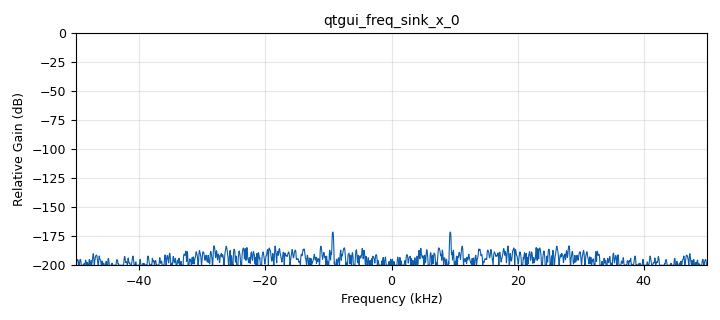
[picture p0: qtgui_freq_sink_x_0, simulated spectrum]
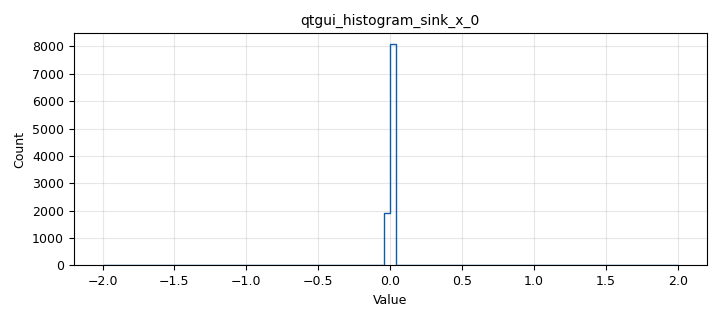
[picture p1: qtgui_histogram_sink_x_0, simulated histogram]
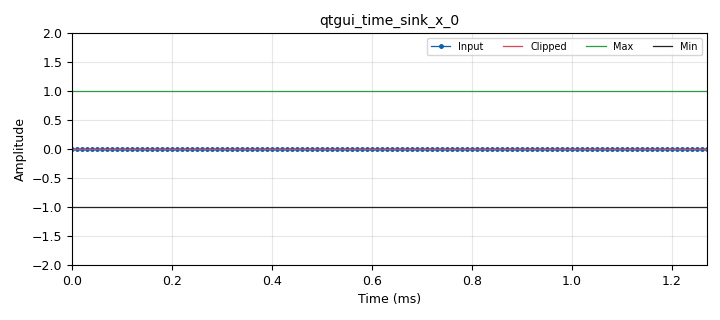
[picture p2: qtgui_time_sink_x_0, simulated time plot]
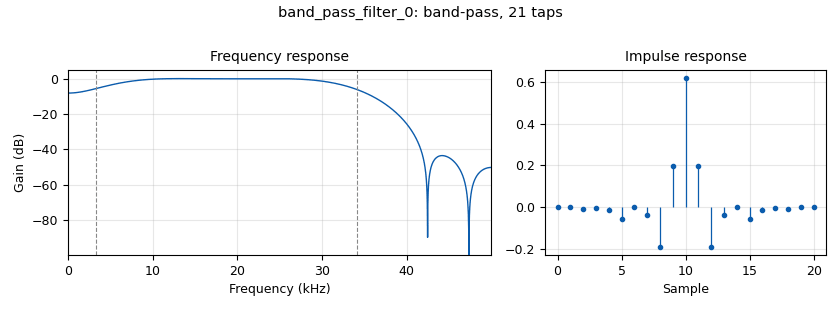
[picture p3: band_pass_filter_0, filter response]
<?xml version='1.0' encoding='utf-8'?>
<?grc format='1' created='3.7.10'?>
<flow_graph>
<block>
<key>options</key>
<param><key>id</key><value>top_block</value></param>
<param><key>author</key><value>Alexandros-Apostolos A. Boulogeorgos</value></param>
<param><key>generate_options</key><value>qt_gui</value></param>
<param><key>title</key><value>Clipping effect demonstration</value></param>
</block>
<block>
<key>variable_qtgui_range</key>
<param><key>id</key><value>bw</value></param>
<param><key>value</key><value>samp_rate/2</value></param>
<param><key>gui_hint</key><value>4,1,1,1</value></param>
<param><key>label</key><value>BW</value></param>
<param><key>orient</key><value>Qt.Horizontal</value></param>
<param><key>start</key><value>samp_rate/100.0</value></param>
<param><key>step</key><value>100</value></param>
<param><key>stop</key><value>samp_rate/2</value></param>
</block>
<block>
<key>variable_qtgui_range</key>
<param><key>id</key><value>center</value></param>
<param><key>value</key><value>samp_rate/11.0</value></param>
<param><key>gui_hint</key><value>3,1,1,1</value></param>
<param><key>label</key><value>Center Freq</value></param>
<param><key>orient</key><value>Qt.Horizontal</value></param>
<param><key>start</key><value>0</value></param>
<param><key>step</key><value>100</value></param>
<param><key>stop</key><value>samp_rate/2</value></param>
</block>
<block>
<key>variable_qtgui_chooser</key>
<param><key>id</key><value>clipping</value></param>
<param><key>value</key><value>1</value></param>
<param><key>gui_hint</key><value>4,0,1,1</value></param>
<param><key>label</key><value>Clipping</value></param>
<param><key>labels</key><value>[]</value></param>
<param><key>num_opts</key><value>0</value></param>
<param><key>options</key><value>[1, 2, 3, 4, 5]</value></param>
<param><key>type</key><value>int</value></param>
</block>
<block>
<key>variable_qtgui_range</key>
<param><key>id</key><value>noise_amp</value></param>
<param><key>value</key><value>-150</value></param>
<param><key>gui_hint</key><value>2,1,1,1</value></param>
<param><key>label</key><value>Noise Power</value></param>
<param><key>orient</key><value>Qt.Horizontal</value></param>
<param><key>start</key><value>-150</value></param>
<param><key>step</key><value>5</value></param>
<param><key>stop</key><value>0</value></param>
</block>
<block>
<key>variable</key>
<param><key>id</key><value>samp_rate</value></param>
<param><key>value</key><value>100000</value></param>
</block>
<block>
<key>variable_qtgui_range</key>
<param><key>id</key><value>sigfreq</value></param>
<param><key>value</key><value>samp_rate*1.0247385/11.0</value></param>
<param><key>gui_hint</key><value>3,0,1,1</value></param>
<param><key>label</key><value>Signal Freq</value></param>
<param><key>orient</key><value>Qt.Horizontal</value></param>
<param><key>start</key><value>0</value></param>
<param><key>step</key><value>1000</value></param>
<param><key>stop</key><value>samp_rate/2</value></param>
</block>
<block>
<key>variable_qtgui_range</key>
<param><key>id</key><value>signal_amp</value></param>
<param><key>value</key><value>-150</value></param>
<param><key>gui_hint</key><value>2,0,1,1</value></param>
<param><key>label</key><value>Singal Power</value></param>
<param><key>orient</key><value>Qt.Horizontal</value></param>
<param><key>start</key><value>-150</value></param>
<param><key>step</key><value>5</value></param>
<param><key>stop</key><value>10</value></param>
</block>
<block>
<key>analog_noise_source_x</key>
<param><key>id</key><value>analog_noise_source_x_0</value></param>
<param><key>amp</key><value>pow(10.0,noise_amp/20.0)</value></param>
<param><key>noise_type</key><value>analog.GR_GAUSSIAN</value></param>
<param><key>type</key><value>float</value></param>
<param><key>seed</key><value>0</value></param>
</block>
<block>
<key>analog_rail_ff</key>
<param><key>id</key><value>analog_rail_ff_0</value></param>
<param><key>hi</key><value>clipping</value></param>
<param><key>lo</key><value>-clipping</value></param>
</block>
<block>
<key>analog_sig_source_x</key>
<param><key>id</key><value>analog_sig_source_x_0</value></param>
<param><key>amp</key><value>pow(10.0,signal_amp/20.0)</value></param>
<param><key>freq</key><value>sigfreq</value></param>
<param><key>offset</key><value>0</value></param>
<param><key>type</key><value>float</value></param>
<param><key>samp_rate</key><value>samp_rate</value></param>
<param><key>waveform</key><value>analog.GR_COS_WAVE</value></param>
</block>
<block>
<key>analog_sig_source_x</key>
<param><key>id</key><value>analog_sig_source_x_1</value></param>
<param><key>amp</key><value>clipping</value></param>
<param><key>freq</key><value>0</value></param>
<param><key>offset</key><value>0</value></param>
<param><key>type</key><value>float</value></param>
<param><key>samp_rate</key><value>samp_rate</value></param>
<param><key>waveform</key><value>analog.GR_CONST_WAVE</value></param>
</block>
<block>
<key>analog_sig_source_x</key>
<param><key>id</key><value>analog_sig_source_x_1_0</value></param>
<param><key>amp</key><value>-clipping</value></param>
<param><key>freq</key><value>0</value></param>
<param><key>offset</key><value>0</value></param>
<param><key>type</key><value>float</value></param>
<param><key>samp_rate</key><value>samp_rate</value></param>
<param><key>waveform</key><value>analog.GR_CONST_WAVE</value></param>
</block>
<block>
<key>band_pass_filter</key>
<param><key>id</key><value>band_pass_filter_0</value></param>
<param><key>decim</key><value>1</value></param>
<param><key>type</key><value>fir_filter_fff</value></param>
<param><key>gain</key><value>1</value></param>
<param><key>high_cutoff_freq</key><value>min(samp_rate/2.0-bw/15.0,center+bw/2.0)</value></param>
<param><key>low_cutoff_freq</key><value>max(bw/15.0,center-bw/2.0)</value></param>
<param><key>samp_rate</key><value>samp_rate</value></param>
<param><key>width</key><value>bw/5.0</value></param>
<param><key>win</key><value>firdes.WIN_HANN</value></param>
</block>
<block>
<key>blocks_add_xx</key>
<param><key>id</key><value>blocks_add_xx_0</value></param>
<param><key>type</key><value>float</value></param>
</block>
<block>
<key>blocks_throttle</key>
<param><key>id</key><value>blocks_throttle_0</value></param>
<param><key>samples_per_second</key><value>samp_rate</value></param>
<param><key>type</key><value>float</value></param>
</block>
<block>
<key>import</key>
<param><key>id</key><value>import_0</value></param>
<param><key>import</key><value>import math</value></param>
</block>
<block>
<key>qtgui_freq_sink_x</key>
<param><key>id</key><value>qtgui_freq_sink_x_0</value></param>
<param><key>bw</key><value>samp_rate</value></param>
<param><key>fc</key><value>0</value></param>
<param><key>fftsize</key><value>2048</value></param>
<param><key>gui_hint</key><value>0,0,1,1</value></param>
<param><key>name</key><value></value></param>
<param><key>showports</key><value>True</value></param>
<param><key>type</key><value>float</value></param>
<param><key>wintype</key><value>firdes.WIN_FLATTOP</value></param>
<param><key>ymax</key><value>0</value></param>
<param><key>ymin</key><value>-200</value></param>
</block>
<block>
<key>qtgui_histogram_sink_x</key>
<param><key>id</key><value>qtgui_histogram_sink_x_0</value></param>
<param><key>gui_hint</key><value>0,1,1,1</value></param>
<param><key>xmax</key><value>1 + clipping</value></param>
<param><key>xmin</key><value>-1 - clipping</value></param>
<param><key>name</key><value></value></param>
<param><key>bins</key><value>100</value></param>
<param><key>size</key><value>10000</value></param>
<param><key>type</key><value>float</value></param>
</block>
<block>
<key>qtgui_time_sink_x</key>
<param><key>id</key><value>qtgui_time_sink_x_0</value></param>
<param><key>gui_hint</key><value>1,0,1,2</value></param>
<param><key>alpha1</key><value>0.5</value></param>
<param><key>color1</key><value>"blue"</value></param>
<param><key>label1</key><value>Input</value></param>
<param><key>marker1</key><value>0</value></param>
<param><key>width1</key><value>2</value></param>
<param><key>color2</key><value>"green"</value></param>
<param><key>label2</key><value>Clipped</value></param>
<param><key>width2</key><value>2</value></param>
<param><key>color3</key><value>"cyan"</value></param>
<param><key>label3</key><value>Max</value></param>
<param><key>style3</key><value>2</value></param>
<param><key>color4</key><value>"cyan"</value></param>
<param><key>label4</key><value>Min</value></param>
<param><key>style4</key><value>2</value></param>
<param><key>name</key><value></value></param>
<param><key>nconnections</key><value>4</value></param>
<param><key>size</key><value>128</value></param>
<param><key>srate</key><value>samp_rate</value></param>
<param><key>tr_mode</key><value>qtgui.TRIG_MODE_NORM</value></param>
<param><key>type</key><value>float</value></param>
<param><key>ymax</key><value>1 + clipping</value></param>
<param><key>ymin</key><value>-1 - clipping</value></param>
</block>
<connection><source_block_id>analog_noise_source_x_0</source_block_id><sink_block_id>band_pass_filter_0</sink_block_id><source_key>0</source_key><sink_key>0</sink_key></connection>
<connection><source_block_id>analog_rail_ff_0</source_block_id><sink_block_id>qtgui_freq_sink_x_0</sink_block_id><source_key>0</source_key><sink_key>0</sink_key></connection>
<connection><source_block_id>analog_rail_ff_0</source_block_id><sink_block_id>qtgui_histogram_sink_x_0</sink_block_id><source_key>0</source_key><sink_key>0</sink_key></connection>
<connection><source_block_id>analog_rail_ff_0</source_block_id><sink_block_id>qtgui_time_sink_x_0</sink_block_id><source_key>0</source_key><sink_key>1</sink_key></connection>
<connection><source_block_id>analog_sig_source_x_0</source_block_id><sink_block_id>blocks_add_xx_0</sink_block_id><source_key>0</source_key><sink_key>1</sink_key></connection>
<connection><source_block_id>analog_sig_source_x_1</source_block_id><sink_block_id>qtgui_time_sink_x_0</sink_block_id><source_key>0</source_key><sink_key>2</sink_key></connection>
<connection><source_block_id>analog_sig_source_x_1_0</source_block_id><sink_block_id>qtgui_time_sink_x_0</sink_block_id><source_key>0</source_key><sink_key>3</sink_key></connection>
<connection><source_block_id>band_pass_filter_0</source_block_id><sink_block_id>blocks_add_xx_0</sink_block_id><source_key>0</source_key><sink_key>0</sink_key></connection>
<connection><source_block_id>blocks_add_xx_0</source_block_id><sink_block_id>blocks_throttle_0</sink_block_id><source_key>0</source_key><sink_key>0</sink_key></connection>
<connection><source_block_id>blocks_throttle_0</source_block_id><sink_block_id>analog_rail_ff_0</sink_block_id><source_key>0</source_key><sink_key>0</sink_key></connection>
<connection><source_block_id>blocks_throttle_0</source_block_id><sink_block_id>qtgui_time_sink_x_0</sink_block_id><source_key>0</source_key><sink_key>0</sink_key></connection>
</flow_graph>
